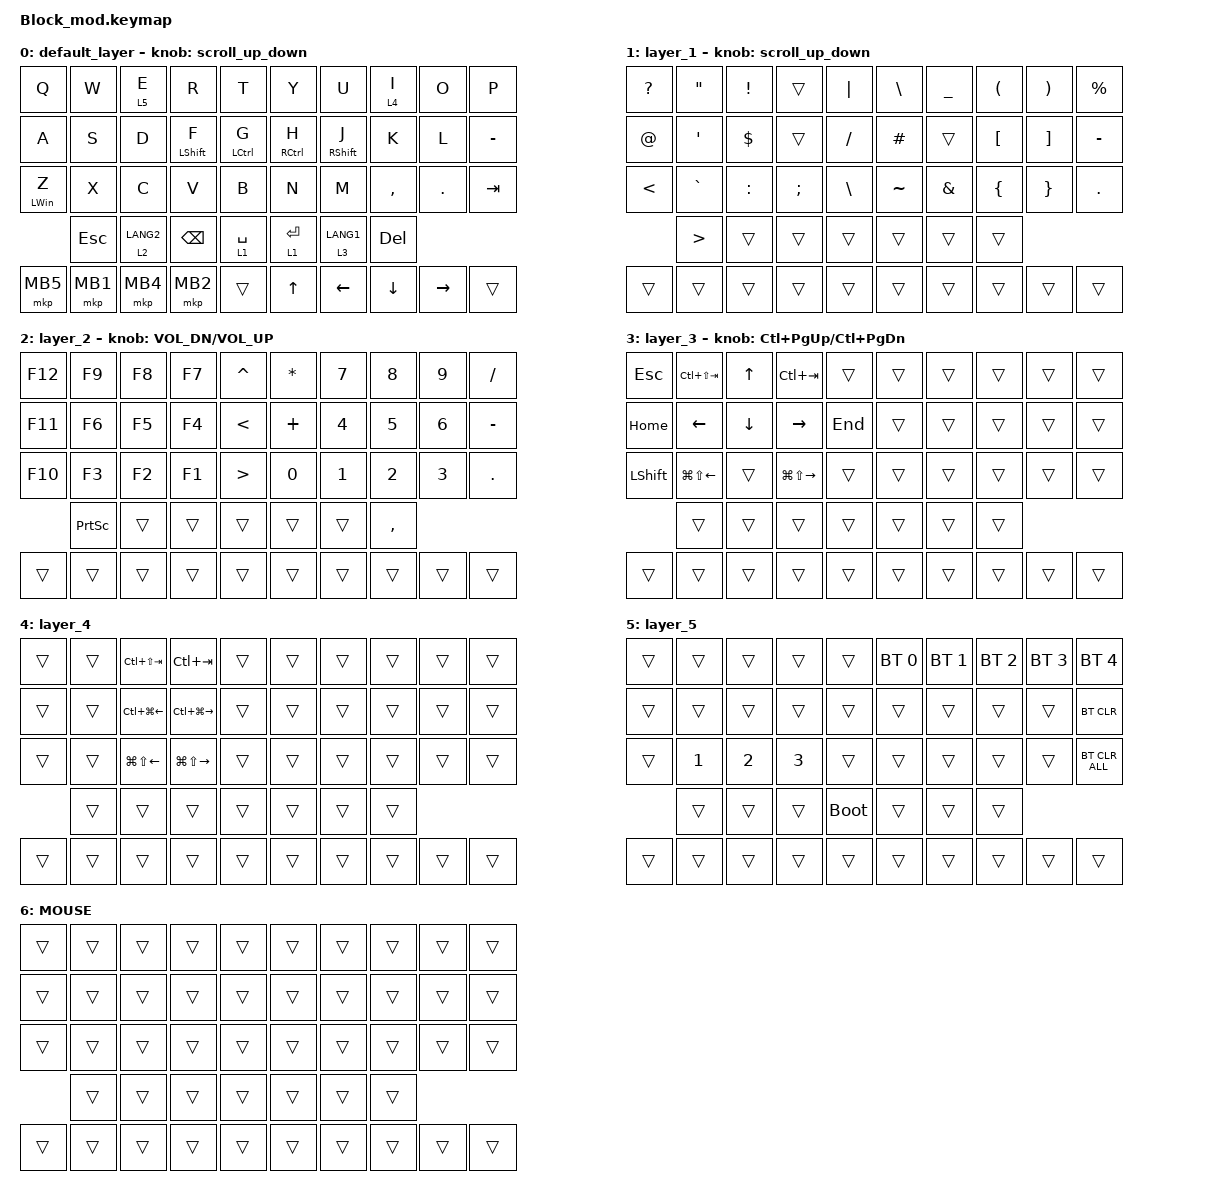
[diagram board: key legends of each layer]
#include <behaviors.dtsi>
#include <dt-bindings/zmk/bt.h>
#include <dt-bindings/zmk/keys.h>
#include <dt-bindings/zmk/pointing.h>
#include <dt-bindings/zmk/mouse.h>
#include <behaviors/rgbled_widget.dtsi>  // led制御

#define ZMK_POINTING_DEFAULT_SCRL_VAL 100

#define MOUSE 6



&mt {
    flavor = "balanced";
    quick-tap-ms = <0>;
};

/ {
    // 複数キーの同時押しに特別の入力を設定できる
    // キー番号早見表：
    //  0  1  2  3  4     5  6  7  8  9
    // 10 11 12 13 14    15 16 17 18 19
    // 20 21 22 23 24    25 26 27 28 29
    

    combos {
        compatible = "zmk,combos";
        timeout-ms = <100>;
        require-prior-idle-ms = <150>;

        combo_esc {
            key-positions = <1 2>;
            bindings = <&kp  ESC>;
        };

        combo_caps {
            key-positions = <11 12>;
            bindings = <&kp CAPS>;
        };

        combo_tog3 {
            key-positions = <3 4>;
            bindings = <&tog 3>;
        };

        combo_slck {
            key-positions = <7 8>;
            bindings = <&kp SLCK>;
        };

    };

    //マクロ(既存のキーの組み合わせ)
    macros {
        to_layer_0: to_layer_0 {
            compatible = "zmk,behavior-macro-one-param";
            #binding-cells = <1>;
            bindings = <&to 0 &macro_param_1to1 &kp MACRO_PLACEHOLDER>;
            label = "TO_LAYER_0";
        };
    };

    //新たな動作を定義する
    behaviors {
        lt_to_layer_0: lt_to_layer_0 {
            compatible = "zmk,behavior-hold-tap";
            label = "LAYER_TAP_TO_0";
            bindings = <&mo>, <&to_layer_0>;

            #binding-cells = <2>;
            tapping-term-ms = <200>;
        };

        scroll_up_down: behavior_sensor_rotate_mouse_wheel_up_down {
            compatible = "zmk,behavior-sensor-rotate";
            #sensor-binding-cells = <0>;
            bindings = <&msc SCRL_UP>, <&msc SCRL_DOWN>;

            tap-ms = <20>;
        };

    };

    //キーマップ設定
    keymap {
        compatible = "zmk,keymap";

        default_layer { //デフォルトレイヤー(レイヤー0)
            bindings = <
            &kp Q       &kp W    &lt 5 E  &kp R        &kp T                                 &kp Y                 &kp U          &lt 4 I        &kp O           &kp P
            &kp A       &kp S    &kp D    &mt LSHFT F  &mt LCTRL G                           &mt RCTRL H           &mt RSHFT J    &kp K          &kp L           &kp MINUS
            &mt LWIN Z  &kp X    &kp C    &kp V        &kp B                                 &kp N                 &kp M          &kp COMMA      &kp PERIOD      &kp TAB
                                 &kp ESC  &lt 2 LANG2  &kp BACKSPACE &lt_to_layer_0 1 SPACE  &lt_to_layer_0 1 RET  &lt 3 LANG1    &kp DEL
            &mkp MB5    &mkp MB1 &mkp MB4 &mkp MB2     &trans                                &kp UP_ARROW          &kp LEFT_ARROW &kp DOWN_ARROW &kp RIGHT_ARROW &trans                                                                                                        
            >;

            sensor-bindings = <&scroll_up_down>;
            
        };

        layer_1 {   //レイヤー1の時の設定
            bindings = <
            &kp QMARK  &kp DQT   &kp EXCL  &trans   &kp PIPE          &kp BSLH  &kp UNDER  &kp LPAR  &kp RPAR  &kp PRCNT
            &kp AT     &kp SQT   &kp DLLR  &trans   &kp FSLH          &kp HASH  &trans     &kp LBKT  &kp RBKT  &kp MINUS
            &kp LT     &kp GRAVE &kp COLON &kp SEMI &kp BSLH          &kp TILDE &kp AMPS   &kp LBRC  &kp RBRC  &kp DOT
                                 &kp GT    &trans   &trans    &trans  &trans    &trans     &trans    
            &trans     &trans    &trans    &trans   &trans            &trans    &trans     &trans    &trans    &trans
            >;

            sensor-bindings = <&scroll_up_down>;   
        };

        layer_2 {   //レイヤー2の時の設定
            bindings = <
            &kp F12  &kp F9    &kp F8     &kp F7  &kp CARET          &kp ASTRK  &kp N7     &kp N8     &kp N9  &kp SLASH
            &kp F11  &kp F6    &kp F5     &kp F4  &kp LT             &kp PLUS   &kp N4     &kp N5     &kp N6  &kp MINUS
            &kp F10  &kp F3    &kp F2     &kp F1  &kp GT             &kp N0     &kp N1     &kp N2     &kp N3  &kp DOT
                               &kp PSCRN  &trans  &trans      &trans &trans     &trans     &kp COMMA                
           &trans    &trans    &trans     &trans  &trans             &trans     &trans     &trans     &trans  &trans
            >;

            sensor-bindings = <&inc_dec_kp C_VOL_DN C_VOL_UP>;   
        };

        layer_3 {    //レイヤー3の時の設定
            bindings = <
            &kp ESCAPE      &kp LC(LS(TAB))         &kp UP_ARROW    &kp LC(TAB)              &trans            &trans  &trans  &trans  &trans  &trans
            &kp HOME        &kp LEFT_ARROW          &kp DOWN_ARROW  &kp RIGHT_ARROW          &kp END           &trans  &trans  &trans  &trans  &trans
            &kp LEFT_SHIFT  &kp LG(LS(LEFT_ARROW))  &trans          &kp LG(LS(RIGHT_ARROW))  &trans            &trans  &trans  &trans  &trans  &trans
                                                    &trans          &trans                   &trans   &trans   &trans  &trans  &trans
            &trans          &trans                  &trans          &trans                   &trans            &trans  &trans  &trans  &trans  &trans
            >;

            sensor-bindings = <&inc_dec_kp LC(PAGE_UP) LC(PAGE_DOWN)>;   
        };

        layer_4 {   //レイヤー4の時の設定(スクロールレイヤー)
            bindings = <
            &trans  &trans  &kp LC(LS(TAB))         &kp LC(TAB)              &trans         &trans  &trans  &trans  &trans  &trans
            &trans  &trans  &kp LC(LG(LEFT_ARROW))  &kp LC(LG(RIGHT_ARROW))  &trans         &trans  &trans  &trans  &trans  &trans
            &trans  &trans  &kp LG(LS(LEFT_ARROW))  &kp LG(LS(RIGHT_ARROW))  &trans         &trans  &trans  &trans  &trans  &trans
                            &trans                  &trans                   &trans  &trans &trans  &trans  &trans  
            &trans  &trans  &trans                  &trans                   &trans         &trans  &trans  &trans  &trans  &trans
            >;


        };

        layer_5 {   //レイヤー5の時の設定
            bindings = <
            &trans  &trans        &trans        &trans        &trans               &bt BT_SEL 0  &bt BT_SEL 1  &bt BT_SEL 2  &bt BT_SEL 3   &bt BT_SEL 4
            &trans  &trans        &trans        &trans        &trans               &trans        &trans        &trans        &trans         &bt BT_CLR
            &trans  &kp NUMBER_1  &kp NUMBER_2  &kp NUMBER_3  &trans               &trans        &trans        &trans        &trans         &bt BT_CLR_ALL
                                  &trans        &trans        &trans  &bootloader  &trans        &trans        &trans        
            &trans  &trans        &trans        &trans        &trans               &trans        &trans        &trans        &trans         &trans
            >;
            
        };

        MOUSE {     //レイヤー6の時の設定(マウスレイヤー)
            bindings = <
            &trans    &trans    &trans    &trans    &trans            &trans    &trans    &trans    &trans    &trans
            &trans    &trans    &trans    &trans    &trans            &trans    &trans    &trans    &trans    &trans
            &trans    &trans    &trans    &trans    &trans            &trans    &trans    &trans    &trans    &trans
                                &trans    &trans    &trans    &trans  &trans    &trans    &trans    
            &trans    &trans    &trans    &trans    &trans            &trans    &trans    &trans    &trans    &trans
            >;

           
            
        };
    };
};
